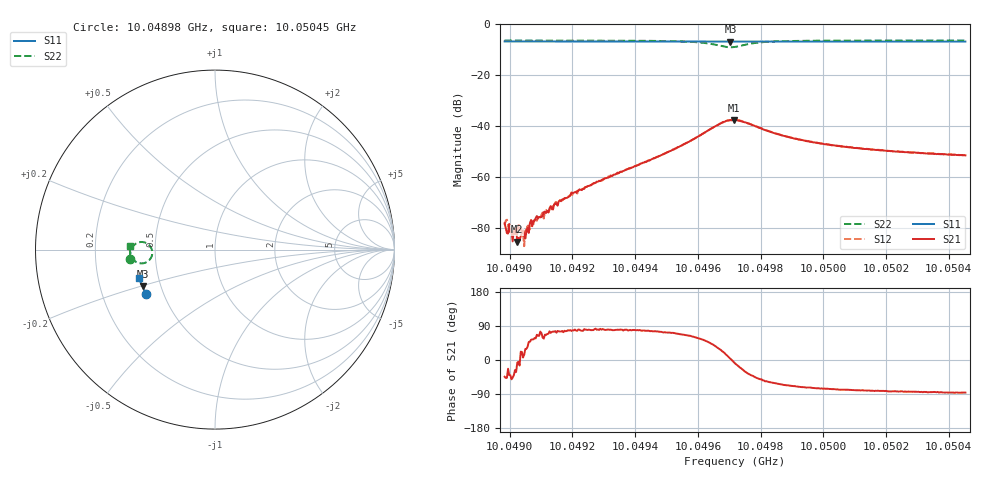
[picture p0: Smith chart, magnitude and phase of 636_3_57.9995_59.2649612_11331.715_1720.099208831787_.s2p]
#  HZ  S  RI  R  50.00
! Rohde & Schwarz Vector Network Analyzer
! Rohde-Schwarz,ZNB20-2Port,1311601062101988,3.16
! Created: UTC 3/21/2024, 1:18:51 AM
! freq[Hz]  re:S11  im:S11  re:S21  im:S21  re:S12  im:S12  re:S22  im:S22
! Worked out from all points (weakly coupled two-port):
!   401 points, 10.04898 GHz to 10.05045 GHz, reference 50 ohm
!   highest |S21| = -37.68 dB at 10.04971 GHz (marker M1); lowest = -85.5 dB at 10.04902 GHz (marker M2)
!   lowest |S11| = -6.9 dB at 10.0497 GHz (marker M3), VSWR 2.65, Z = 19.8 - j10.2 ohm
!   |S11| at or under -10 dB: nowhere
!   |S22| runs from -9.1 to -6.5 dB; largest |S21 - S12| = 0.001
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1.0048983e10  -0.3823 -0.2468  8.78e-05 -8.55e-05  7.83e-05 -8.27e-05  -0.4731 -0.0507
1.0049005e10  -0.3831 -0.2455  5.5e-05 -6.76e-05  7.4e-05 -3.01e-05  -0.4732 -0.049
1.0049024e10  -0.3837 -0.2444  5.28e-05 -6.57e-06  7.46e-05 -4.68e-06  -0.4731 -0.0476
1.0049053e10  -0.3846 -0.2427  7.4e-05 4.22e-05  8.64e-05 7.29e-06  -0.4733 -0.0449
1.0049068e10  -0.3852 -0.2418  8.44e-05 0.000114  7.78e-05 4.97e-05  -0.4732 -0.0436
1.0049086e10  -0.3858 -0.2409  6.74e-05 0.000156  5.6e-05 0.000125  -0.4733 -0.0423
1.0049097e10  -0.3861 -0.2403  4.18e-05 0.000154  4.97e-05 0.000143  -0.4734 -0.0412
1.0049127e10  -0.3871 -0.2385  5.97e-05 0.000234  3.43e-05 0.00022  -0.4733 -0.0387
1.0049145e10  -0.3878 -0.2374  6.99e-05 0.000283  4.54e-05 0.000311  -0.4733 -0.0368
1.00492e10  -0.3895 -0.2343  9.58e-05 0.000474  5.58e-05 0.000441  -0.473 -0.0315
1.004923e10  -0.3905 -0.2327  0.000119 0.000535  6.57e-05 0.000569  -0.4729 -0.0286
1.0049476e10  -0.3982 -0.2182  0.00068 0.00246  0.000509 0.0025  -0.4653 0.00506
1.0049572e10  -0.4009 -0.2122  0.00211 0.0044  0.0019 0.00452  -0.4484 0.028
1.0049641e10  -0.4025 -0.2078  0.0063 0.00609  0.00589 0.00643  -0.406 0.0424
1.0049704e10  -0.4033 -0.2046  0.0129 0.000752  0.0129 0.00162  -0.3494 -0.0136
1.0049715e10  -0.4037 -0.2042  0.013 -0.00131  0.0131 -0.00044  -0.3512 -0.0321
1.0049719e10  -0.4037 -0.204  0.0129 -0.00194  0.013 -0.0011  -0.353 -0.0382
1.0049807e10  -0.407 -0.1996  0.0051 -0.00692  0.0057 -0.00658  -0.4348 -0.0713
1.0049877e10  -0.4091 -0.1952  0.00256 -0.00578  0.00294 -0.00562  -0.4587 -0.0517
1.0049965e10  -0.4116 -0.19  0.00135 -0.0046  0.00164 -0.00455  -0.4688 -0.0331
1.0050211e10  -0.4179 -0.1748  0.000395 -0.00319  0.000593 -0.00317  -0.4749 -0.00164
1.0050454e10  -0.4234 -0.1599  0.000183 -0.00263  0.000305 -0.00263  -0.4753 0.0198
